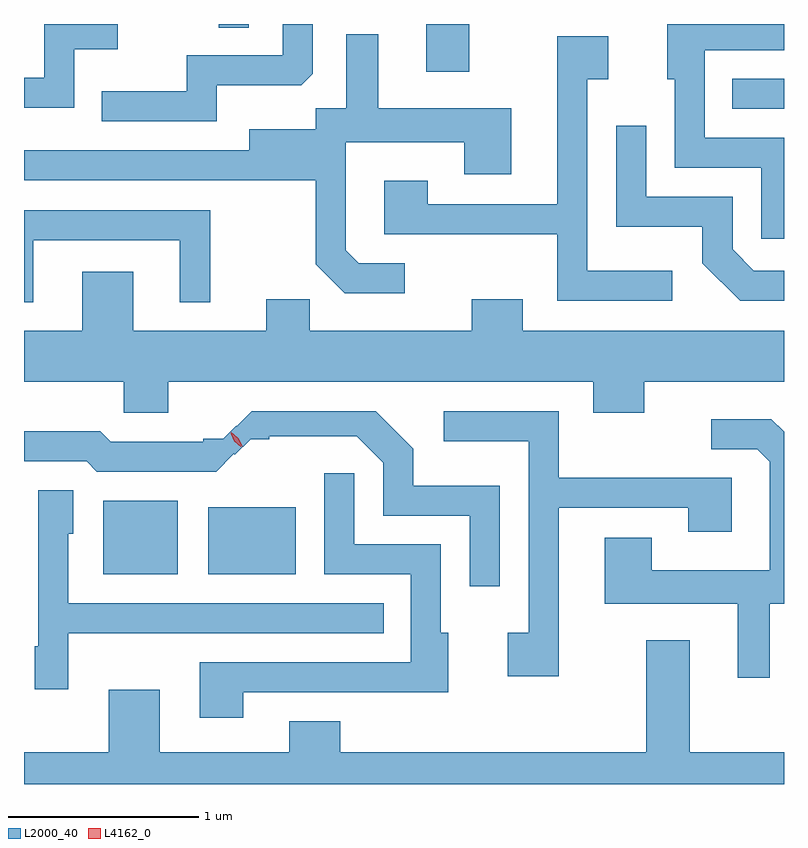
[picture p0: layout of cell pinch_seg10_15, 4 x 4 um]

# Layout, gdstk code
import gdstk
lib = gdstk.Library(unit=1e-6, precision=1e-09)
def R(c, l, rs):  # rectangles x0, y0, x1, y1
    for r in rs: c.add(gdstk.rectangle(r[:2], r[2:], *l))
def P(c, l, *ps):  # polygons
    for p in ps: c.add(gdstk.Polygon(p, *l))
L2000_40 = (2000, 40)
L4162_0 = (4162, 0)

pinch_seg10_15 = lib.new_cell('pinch_seg10_15')
R(pinch_seg10_15, L2000_40, [(827.941,2166.181,828.334,2166.569), (828.496,2166.181,828.954,2166.534), (831.253,2168.631,831.525,2168.789), (829.641,2168.826,829.869,2169.078), (828.551,2169.058,828.709,2169.078)])
P(pinch_seg10_15, L2000_40, [(828.539,2168.756),(828.984,2168.756),(829.044,2168.817),(829.044,2169.078),(828.886,2169.078),(828.886,2168.914),(828.381,2168.914),(828.381,2168.724),(827.933,2168.724),(827.933,2168.566),(828.539,2168.566)],
  [(827.789,2168.946),(828.018,2168.946),(828.018,2169.078),(827.631,2169.078),(827.631,2168.794),(827.525,2168.794),(827.525,2168.636),(827.789,2168.636)],
  [(831.525,2168.479),(831.109,2168.479),(831.109,2168.941),(831.525,2168.941),(831.525,2169.078),(830.911,2169.078),(830.911,2168.786),(830.951,2168.786),(830.951,2168.321),(831.406,2168.321),(831.406,2167.948),(831.525,2167.948)],
  [(829.528,2167.819),(829.287,2167.819),(829.219,2167.887),(829.219,2168.456),(829.841,2168.456),(829.841,2168.286),(830.089,2168.286),(830.089,2168.634),(829.389,2168.634),(829.389,2169.023),(829.221,2169.023),(829.221,2168.634),(829.061,2168.634),(829.061,2168.524),(828.711,2168.524),(828.711,2168.414),(827.525,2168.414),(827.525,2168.256),(829.061,2168.256),(829.061,2167.814),(829.214,2167.661),(829.528,2167.661)],
  [(830.938,2167.779),(830.489,2167.779),(830.489,2168.786),(830.599,2168.786),(830.599,2169.014),(830.331,2169.014),(830.331,2168.129),(829.649,2168.129),(829.649,2168.254),(829.421,2168.254),(829.421,2167.971),(830.331,2167.971),(830.331,2167.621),(830.938,2167.621)],
  [(831.525,2167.779),(831.367,2167.779),(831.254,2167.892),(831.254,2168.169),(830.799,2168.169),(830.799,2168.543),(830.641,2168.543),(830.641,2168.011),(831.096,2168.011),(831.096,2167.819),(831.294,2167.621),(831.525,2167.621)],
  [(827.574,2167.941),(828.346,2167.941),(828.346,2167.613),(828.504,2167.613),(828.504,2168.099),(827.525,2168.099),(827.525,2167.613),(827.574,2167.613)],
  [(828.284,2167.196),(830.521,2167.196),(830.521,2167.031),(830.789,2167.031),(830.789,2167.196),(831.525,2167.196),(831.525,2167.464),(830.149,2167.464),(830.149,2167.629),(829.881,2167.629),(829.881,2167.464),(829.029,2167.464),(829.029,2167.629),(828.801,2167.629),(828.801,2167.464),(828.099,2167.464),(828.099,2167.774),(827.831,2167.774),(827.831,2167.464),(827.525,2167.464),(827.525,2167.196),(828.051,2167.196),(828.051,2167.031),(828.284,2167.031)],
  [(830.339,2166.531),(831.021,2166.531),(831.021,2166.406),(831.249,2166.406),(831.249,2166.689),(830.339,2166.689),(830.339,2167.039),(829.733,2167.039),(829.733,2166.881),(830.181,2166.881),(830.181,2165.874),(830.071,2165.874),(830.071,2165.646),(830.339,2165.646)],
  [(830.029,2166.649),(829.574,2166.649),(829.574,2166.842),(829.377,2167.039),(828.723,2167.039),(828.644,2166.96),(828.641,2166.963),(828.574,2166.895),(828.469,2166.895),(828.469,2166.879),(827.982,2166.879),(827.927,2166.934),(827.525,2166.934),(827.525,2166.776),(827.854,2166.776),(827.909,2166.721),(828.536,2166.721),(828.629,2166.815),(828.635,2166.81),(828.718,2166.893),(828.817,2166.893),(828.817,2166.909),(829.276,2166.909),(829.416,2166.769),(829.416,2166.491),(829.871,2166.491),(829.871,2166.118),(830.029,2166.118)],
  [(831.449,2166.026),(831.525,2166.026),(831.525,2166.931),(831.457,2166.999),(831.143,2166.999),(831.143,2166.841),(831.384,2166.841),(831.451,2166.774),(831.451,2166.204),(830.829,2166.204),(830.829,2166.374),(830.581,2166.374),(830.581,2166.026),(831.281,2166.026),(831.281,2165.638),(831.449,2165.638)],
  [(828.679,2165.561),(829.759,2165.561),(829.759,2165.874),(829.719,2165.874),(829.719,2166.339),(829.264,2166.339),(829.264,2166.713),(829.106,2166.713),(829.106,2166.181),(829.561,2166.181),(829.561,2165.719),(828.451,2165.719),(828.451,2165.426),(828.679,2165.426)],
  [(827.759,2165.871),(829.418,2165.871),(829.418,2166.029),(827.759,2166.029),(827.759,2166.396),(827.784,2166.396),(827.784,2166.624),(827.601,2166.624),(827.601,2165.804),(827.581,2165.804),(827.581,2165.576),(827.759,2165.576)],
  [(831.525,2165.244),(831.029,2165.244),(831.029,2165.834),(830.801,2165.834),(830.801,2165.244),(829.189,2165.244),(829.189,2165.409),(828.921,2165.409),(828.921,2165.244),(828.239,2165.244),(828.239,2165.574),(827.971,2165.574),(827.971,2165.244),(827.525,2165.244),(827.525,2165.078),(831.525,2165.078)])
P(pinch_seg10_15, L4162_0, [(828.667,2166.853),(828.632,2166.882),(828.612,2166.924),(828.612,2166.924),(828.613,2166.924),(828.648,2166.895),(828.668,2166.854),(828.668,2166.853)],
  [(828.675,2166.852),(828.636,2166.885),(828.612,2166.931),(828.612,2166.932),(828.613,2166.932),(828.652,2166.898),(828.676,2166.853),(828.676,2166.852)])

lib.write_gds('pinch_seg10_15.gds')
